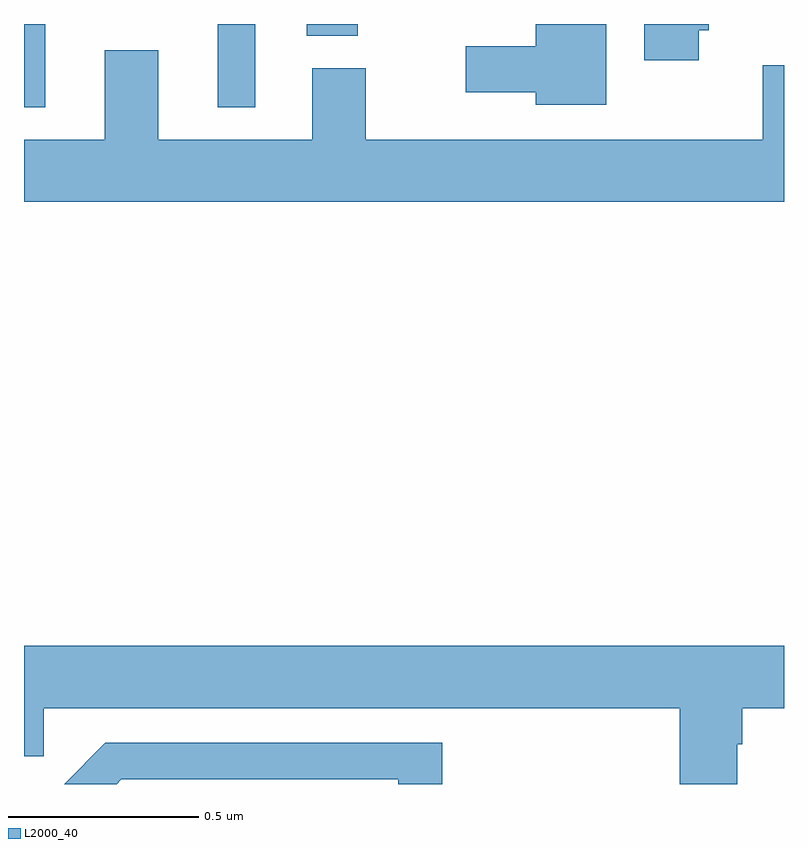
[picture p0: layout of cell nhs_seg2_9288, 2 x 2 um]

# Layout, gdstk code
import gdstk
lib = gdstk.Library(unit=1e-6, precision=1e-09)
def R(c, l, rs):  # rectangles x0, y0, x1, y1
    for r in rs: c.add(gdstk.rectangle(r[:2], r[2:], *l))
def P(c, l, *ps):  # polygons
    for p in ps: c.add(gdstk.Polygon(p, *l))
L2000_40 = (2000, 40)

nhs_seg2_9288 = lib.new_cell('nhs_seg2_9288')
R(nhs_seg2_9288, L2000_40, [(227,618.581,227.056,618.8), (227.51,618.581,227.608,618.8), (227.744,618.769,227.878,618.8)])
P(nhs_seg2_9288, L2000_40, [(228.775,618.783),(228.802,618.783),(228.802,618.8),(228.632,618.8),(228.632,618.705),(228.775,618.705)],
  [(228.532,618.8),(228.347,618.8),(228.347,618.742),(228.162,618.742),(228.162,618.62),(228.347,618.62),(228.347,618.587),(228.532,618.587)],
  [(229,618.691),(228.944,618.691),(228.944,618.496),(227.899,618.496),(227.899,618.684),(227.759,618.684),(227.759,618.496),(227.353,618.496),(227.353,618.731),(227.213,618.731),(227.213,618.496),(227,618.496),(227,618.332),(229,618.332)],
  [(228.877,616.904),(228.89,616.904),(228.89,617),(229,617),(229,617.164),(227,617.164),(227,616.873),(227.052,616.873),(227.052,617),(228.725,617),(228.725,616.8),(228.877,616.8)],
  [(227.256,616.812),(227.985,616.812),(227.985,616.8),(228.101,616.8),(228.101,616.908),(227.214,616.908),(227.106,616.8),(227.244,616.8)])

lib.write_gds('nhs_seg2_9288.gds')
